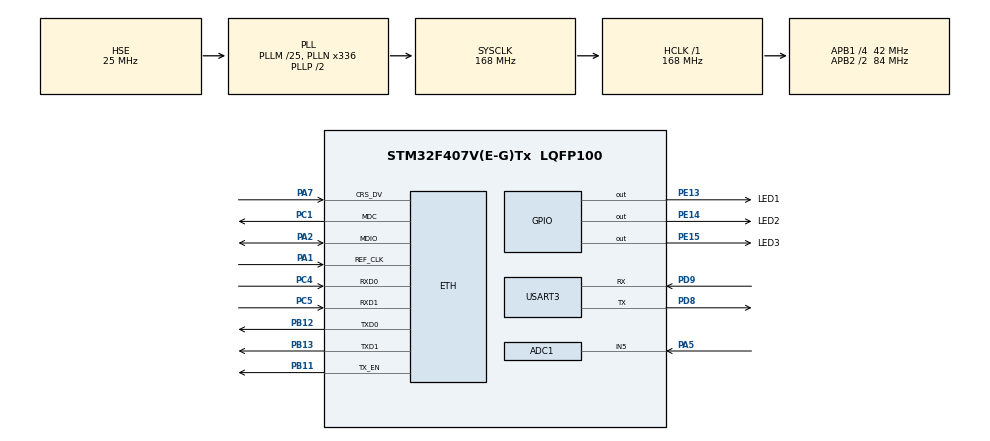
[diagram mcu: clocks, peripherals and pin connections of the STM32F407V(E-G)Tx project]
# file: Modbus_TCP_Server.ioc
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ADC1.Channel-1\#ChannelRegularConversion=ADC_CHANNEL_5
ADC1.NbrOfConversionFlag=1
ADC1.Rank-1\#ChannelRegularConversion=1
ADC1.SamplingTime-1\#ChannelRegularConversion=ADC_SAMPLETIME_3CYCLES
ADC1.master=1
ETH.MediaInterface=HAL_ETH_RMII_MODE
LWIP.BSP.number=1
LWIP.GATEWAY_ADDRESS=192.168.165.254
LWIP.IP_ADDRESS=192.168.165.041
LWIP.LWIP_DHCP=0
LWIP.MEM_SIZE=1024*10
LWIP.NETMASK_ADDRESS=255.255.255.000
LWIP.Version=v2.1.2_Cube
LWIP0.BSP.STBoard=false
LWIP0.BSP.api=BSP_COMPONENT_DRIVER
LWIP0.BSP.component=DP83848
LWIP0.BSP.instance=DP83848
LWIP0.BSP.name=Driver_PHY
LWIP0.BSP.semaphore=S_DP83848
LWIP0.BSP.solution=DP83848
Mcu.Family=STM32F4
Mcu.Name=STM32F407V(E-G)Tx
Mcu.Package=LQFP100
NVIC.ETH_IRQn=true\:0\:0\:false\:false\:true\:true\:true\:true
NVIC.PriorityGroup=NVIC_PRIORITYGROUP_4
NVIC.USART3_IRQn=true\:0\:0\:false\:false\:true\:true\:true\:true
PA1.Mode=RMII
PA1.Signal=ETH_REF_CLK
PA13.Mode=Serial_Wire
PA13.Signal=SYS_JTMS-SWDIO
PA14.Mode=Serial_Wire
PA14.Signal=SYS_JTCK-SWCLK
PA2.Mode=RMII
PA2.Signal=ETH_MDIO
PA5.Signal=ADCx_IN5
PA7.Mode=RMII
PA7.Signal=ETH_CRS_DV
PB11.Mode=RMII
PB11.Signal=ETH_TX_EN
PB12.Mode=RMII
PB12.Signal=ETH_TXD0
PB13.Mode=RMII
PB13.Signal=ETH_TXD1
PC1.Mode=RMII
PC1.Signal=ETH_MDC
PC4.Mode=RMII
PC4.Signal=ETH_RXD0
PC5.Mode=RMII
PC5.Signal=ETH_RXD1
PD8.Mode=Asynchronous
PD8.Signal=USART3_TX
PD9.Mode=Asynchronous
PD9.Signal=USART3_RX
PE13.GPIO_Label=LED1
PE13.Signal=GPIO_Output
PE14.GPIO_Label=LED2
PE14.Signal=GPIO_Output
PE15.GPIO_Label=LED3
PE15.Signal=GPIO_Output
PH0-OSC_IN.Mode=HSE-External-Oscillator
PH0-OSC_IN.Signal=RCC_OSC_IN
PH1-OSC_OUT.Mode=HSE-External-Oscillator
PH1-OSC_OUT.Signal=RCC_OSC_OUT
ProjectManager.HeapSize=0x200
ProjectManager.StackSize=0x400
ProjectManager.TargetToolchain=STM32CubeIDE
RCC.48MHZClocksFreq_Value=84000000
RCC.AHBFreq_Value=168000000
RCC.APB1CLKDivider=RCC_HCLK_DIV4
RCC.APB1Freq_Value=42000000
RCC.APB1TimFreq_Value=84000000
RCC.APB2CLKDivider=RCC_HCLK_DIV2
RCC.APB2Freq_Value=84000000
RCC.APB2TimFreq_Value=168000000
RCC.CortexFreq_Value=168000000
RCC.HCLKFreq_Value=168000000
RCC.HSE_VALUE=25000000
RCC.HSI_VALUE=16000000
RCC.LSE_VALUE=32768
RCC.PLLM=25
RCC.PLLN=336
RCC.PLLSourceVirtual=RCC_PLLSOURCE_HSE
RCC.SYSCLKFreq_VALUE=168000000
RCC.SYSCLKSource=RCC_SYSCLKSOURCE_PLLCLK
RCC.VCOOutputFreq_Value=336000000
SH.ADCx_IN5.0=ADC1_IN5,IN5
USART3.VirtualMode=VM_ASYNC
VP_LWIP_VS_Enabled.Mode=Enabled
board=custom

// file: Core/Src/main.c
/* USER CODE BEGIN Header */
/**
  ******************************************************************************
  * @file           : main.c
  * @brief          : Main program body
  ******************************************************************************
  * @attention
  *
  * Copyright (c) 2026 STMicroelectronics.
  * All rights reserved.
  *
  * This software is licensed under terms that can be found in the LICENSE file
  * in the root directory of this software component.
  * If no LICENSE file comes with this software, it is provided AS-IS.
  *
  ******************************************************************************
  */
/* USER CODE END Header */
#include "main.h"
#include "lwip.h"

/* USER CODE BEGIN Includes */
#include "../Drivers/Modbus_Server.h"
/* USER CODE END Includes */

ADC_HandleTypeDef hadc1;

UART_HandleTypeDef huart3;

void SystemClock_Config(void);
static void MX_GPIO_Init(void);
static void MX_USART3_UART_Init(void);
static void MX_ADC1_Init(void);

/* USER CODE BEGIN 0 */
uint16_t readADC (void)
{
	HAL_ADC_Start(&hadc1);
	HAL_ADC_PollForConversion(&hadc1, 100);
	uint16_t val = HAL_ADC_GetValue(&hadc1);
	HAL_ADC_Stop(&hadc1);
	return val;
}

uint32_t prevTick = 0;

extern void MB_UpdateInputRegisters(void);
extern void MB_updateCoils(void);

/* USER CODE END 0 */

int main(void)
{

  /* MCU Configuration--------------------------------------------------------*/

  /* Reset of all peripherals, Initializes the Flash interface and the Systick. */
  HAL_Init();

  /* Configure the system clock */
  SystemClock_Config();

  /* USER CODE BEGIN SysInit */
  HAL_Delay(3000);
  /* USER CODE END SysInit */

  /* Initialize all configured peripherals */
  MX_GPIO_Init();
  MX_LWIP_Init();
  MX_USART3_UART_Init();
  MX_ADC1_Init();
  /* USER CODE BEGIN 2 */
  Modbus_Server_Init();
  /* USER CODE END 2 */

  /* Infinite loop */
  /* USER CODE BEGIN WHILE */
  while (1)
  {
	  MX_LWIP_Process();
	  if ((HAL_GetTick() - prevTick) > 500)
	  {
		  prevTick = HAL_GetTick();
		  MB_UpdateInputRegisters();
		  MB_updateCoils();
//		  HAL_GPIO_TogglePin(GPIOE, GPIO_PIN_15);
	  }
    /* USER CODE END WHILE */

  }
}

void SystemClock_Config(void)
{
  RCC_OscInitTypeDef RCC_OscInitStruct = {0};
  RCC_ClkInitTypeDef RCC_ClkInitStruct = {0};

  /** Configure the main internal regulator output voltage
  */
  __HAL_RCC_PWR_CLK_ENABLE();
  __HAL_PWR_VOLTAGESCALING_CONFIG(PWR_REGULATOR_VOLTAGE_SCALE1);

  /** Initializes the RCC Oscillators according to the specified parameters
  * in the RCC_OscInitTypeDef structure.
  */
  RCC_OscInitStruct.OscillatorType = RCC_OSCILLATORTYPE_HSE;
  RCC_OscInitStruct.HSEState = RCC_HSE_ON;
  RCC_OscInitStruct.PLL.PLLState = RCC_PLL_ON;
  RCC_OscInitStruct.PLL.PLLSource = RCC_PLLSOURCE_HSE;
  RCC_OscInitStruct.PLL.PLLM = 25;
  RCC_OscInitStruct.PLL.PLLN = 336;
  RCC_OscInitStruct.PLL.PLLP = RCC_PLLP_DIV2;
  RCC_OscInitStruct.PLL.PLLQ = 4;
  if (HAL_RCC_OscConfig(&RCC_OscInitStruct) != HAL_OK)
  {
    Error_Handler();
  }

  /** Initializes the CPU, AHB and APB buses clocks
  */
  RCC_ClkInitStruct.ClockType = RCC_CLOCKTYPE_HCLK|RCC_CLOCKTYPE_SYSCLK
                              |RCC_CLOCKTYPE_PCLK1|RCC_CLOCKTYPE_PCLK2;
  RCC_ClkInitStruct.SYSCLKSource = RCC_SYSCLKSOURCE_PLLCLK;
  RCC_ClkInitStruct.AHBCLKDivider = RCC_SYSCLK_DIV1;
  RCC_ClkInitStruct.APB1CLKDivider = RCC_HCLK_DIV4;
  RCC_ClkInitStruct.APB2CLKDivider = RCC_HCLK_DIV2;

  if (HAL_RCC_ClockConfig(&RCC_ClkInitStruct, FLASH_LATENCY_5) != HAL_OK)
  {
    Error_Handler();
  }
}

static void MX_ADC1_Init(void)
{

  ADC_ChannelConfTypeDef sConfig = {0};

  /** Configure the global features of the ADC (Clock, Resolution, Data Alignment and number of conversion)
  */
  hadc1.Instance = ADC1;
  hadc1.Init.ClockPrescaler = ADC_CLOCK_SYNC_PCLK_DIV4;
  hadc1.Init.Resolution = ADC_RESOLUTION_12B;
  hadc1.Init.ScanConvMode = DISABLE;
  hadc1.Init.ContinuousConvMode = DISABLE;
  hadc1.Init.DiscontinuousConvMode = DISABLE;
  hadc1.Init.ExternalTrigConvEdge = ADC_EXTERNALTRIGCONVEDGE_NONE;
  hadc1.Init.ExternalTrigConv = ADC_SOFTWARE_START;
  hadc1.Init.DataAlign = ADC_DATAALIGN_RIGHT;
  hadc1.Init.NbrOfConversion = 1;
  hadc1.Init.DMAContinuousRequests = DISABLE;
  hadc1.Init.EOCSelection = ADC_EOC_SINGLE_CONV;
  if (HAL_ADC_Init(&hadc1) != HAL_OK)
  {
    Error_Handler();
  }

  /** Configure for the selected ADC regular channel its corresponding rank in the sequencer and its sample time.
  */
  sConfig.Channel = ADC_CHANNEL_5;
  sConfig.Rank = 1;
  sConfig.SamplingTime = ADC_SAMPLETIME_3CYCLES;
  if (HAL_ADC_ConfigChannel(&hadc1, &sConfig) != HAL_OK)
  {
    Error_Handler();
  }

}

static void MX_USART3_UART_Init(void)
{

  huart3.Instance = USART3;
  huart3.Init.BaudRate = 115200;
  huart3.Init.WordLength = UART_WORDLENGTH_8B;
  huart3.Init.StopBits = UART_STOPBITS_1;
  huart3.Init.Parity = UART_PARITY_NONE;
  huart3.Init.Mode = UART_MODE_TX_RX;
  huart3.Init.HwFlowCtl = UART_HWCONTROL_NONE;
  huart3.Init.OverSampling = UART_OVERSAMPLING_16;
  if (HAL_UART_Init(&huart3) != HAL_OK)
  {
    Error_Handler();
  }

}

static void MX_GPIO_Init(void)
{
  GPIO_InitTypeDef GPIO_InitStruct = {0};

  /* GPIO Ports Clock Enable */
  __HAL_RCC_GPIOH_CLK_ENABLE();
  __HAL_RCC_GPIOC_CLK_ENABLE();
  __HAL_RCC_GPIOA_CLK_ENABLE();
  __HAL_RCC_GPIOE_CLK_ENABLE();
  __HAL_RCC_GPIOB_CLK_ENABLE();
  __HAL_RCC_GPIOD_CLK_ENABLE();

  /*Configure GPIO pin Output Level */
  HAL_GPIO_WritePin(GPIOE, LED1_Pin|LED2_Pin|LED3_Pin, GPIO_PIN_RESET);

  /*Configure GPIO pins : LED1_Pin LED2_Pin LED3_Pin */
  GPIO_InitStruct.Pin = LED1_Pin|LED2_Pin|LED3_Pin;
  GPIO_InitStruct.Mode = GPIO_MODE_OUTPUT_PP;
  GPIO_InitStruct.Pull = GPIO_NOPULL;
  GPIO_InitStruct.Speed = GPIO_SPEED_FREQ_LOW;
  HAL_GPIO_Init(GPIOE, &GPIO_InitStruct);

}

/* USER CODE BEGIN 4 */
int _write(int fd, unsigned char *buf, int len) {
  if (fd == 1 || fd == 2) {
    HAL_UART_Transmit(&huart3, buf, len, 999);
  }
  return len;
}

/* USER CODE END 4 */

void Error_Handler(void)
{
  __disable_irq();
  while (1)
  {
  }
}
